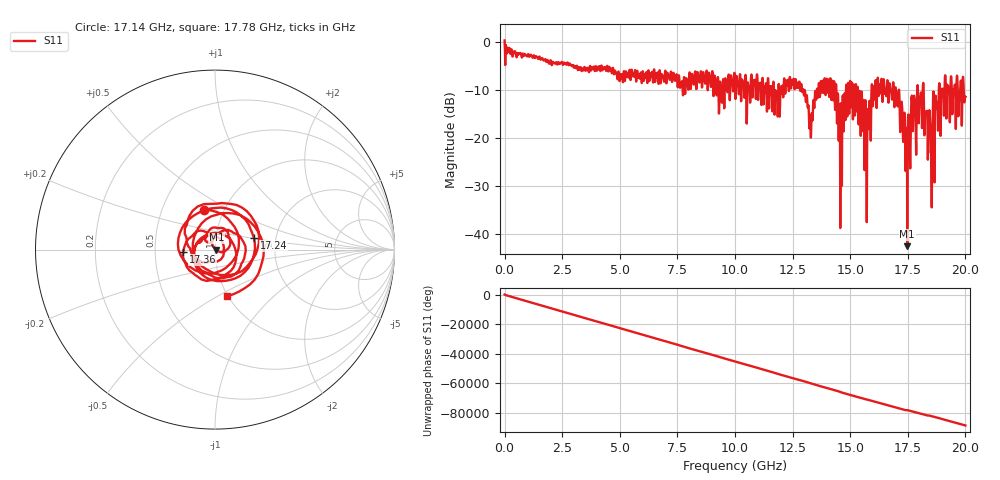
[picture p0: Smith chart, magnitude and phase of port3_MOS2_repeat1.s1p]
! MS46122B
! 2250307/22442219
! 7/23/2025 8:03:31 AM
! C:\USERS\SPARKY\DOCUMENTS\VNA_DATA\JULY23_2025\3K\PORT3_MOS2_REPEAT1.S1P
! CHANNEL.1
! TR.MEASUREMENT
! RAW.DATA
# GHZ S RI R 50.0
! FREQ.GHZ  S11RE  S11IM
!; PortSelection: Port_1
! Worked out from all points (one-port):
!   10001 points, 1 MHz to 20 GHz, reference 50 ohm
!   lowest |S11| = -42.6 dB at 17.47 GHz (marker M1), VSWR 1.01, Z = 50.7 + j0.00318 ohm
!   |S11| at or under -10 dB: 15.34 GHz to 15.92 GHz (587 MHz wide, 3.76 % of centre); 17.12 GHz to 17.91 GHz (785.2 MHz wide, 4.48 % of centre); 18.19 GHz to 18.85 GHz (656.8 MHz wide, 3.55 % of centre) (the widest 3 of 81)
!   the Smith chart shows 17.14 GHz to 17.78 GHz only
!   S11 on the Smith chart (normalised r, x): 17.14 GHz: 0.81, +0.38; 17.24 GHz: 1.54, +0.21; 17.36 GHz: 0.70, -0.02; 17.78 GHz: 0.99, -0.56
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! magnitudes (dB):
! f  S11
! 1 MHz  0.4
! 2.501 GHz  -4.2
! 5.001 GHz  -7.7
! 7.501 GHz  -8.5
! 10 GHz  -8.5
! 11.79 GHz  -12.2
! 12.5 GHz  -8.8
! 12.96 GHz  -9.8
! 13.29 GHz  -18.8
! 13.64 GHz  -8.6
! 14.22 GHz  -8.1
! 14.57 GHz  -25.9
! 15 GHz  -8.0
! 15.71 GHz  -24.0
! 16.02 GHz  -9.4
! 16.27 GHz  -8.9
! 17.14 GHz  -12.7
! 17.24 GHz  -12.9
! 17.36 GHz  -15.0
! 17.47 GHz  -42.6
! 17.5 GHz  -17.2
! 17.78 GHz  -11.4
! 18.1 GHz  -14.4
! 18.46 GHz  -15.9
! 18.59 GHz  -15.1
! 18.68 GHz  -12.8
! 19.05 GHz  -11.5
! 20 GHz  -11.4
